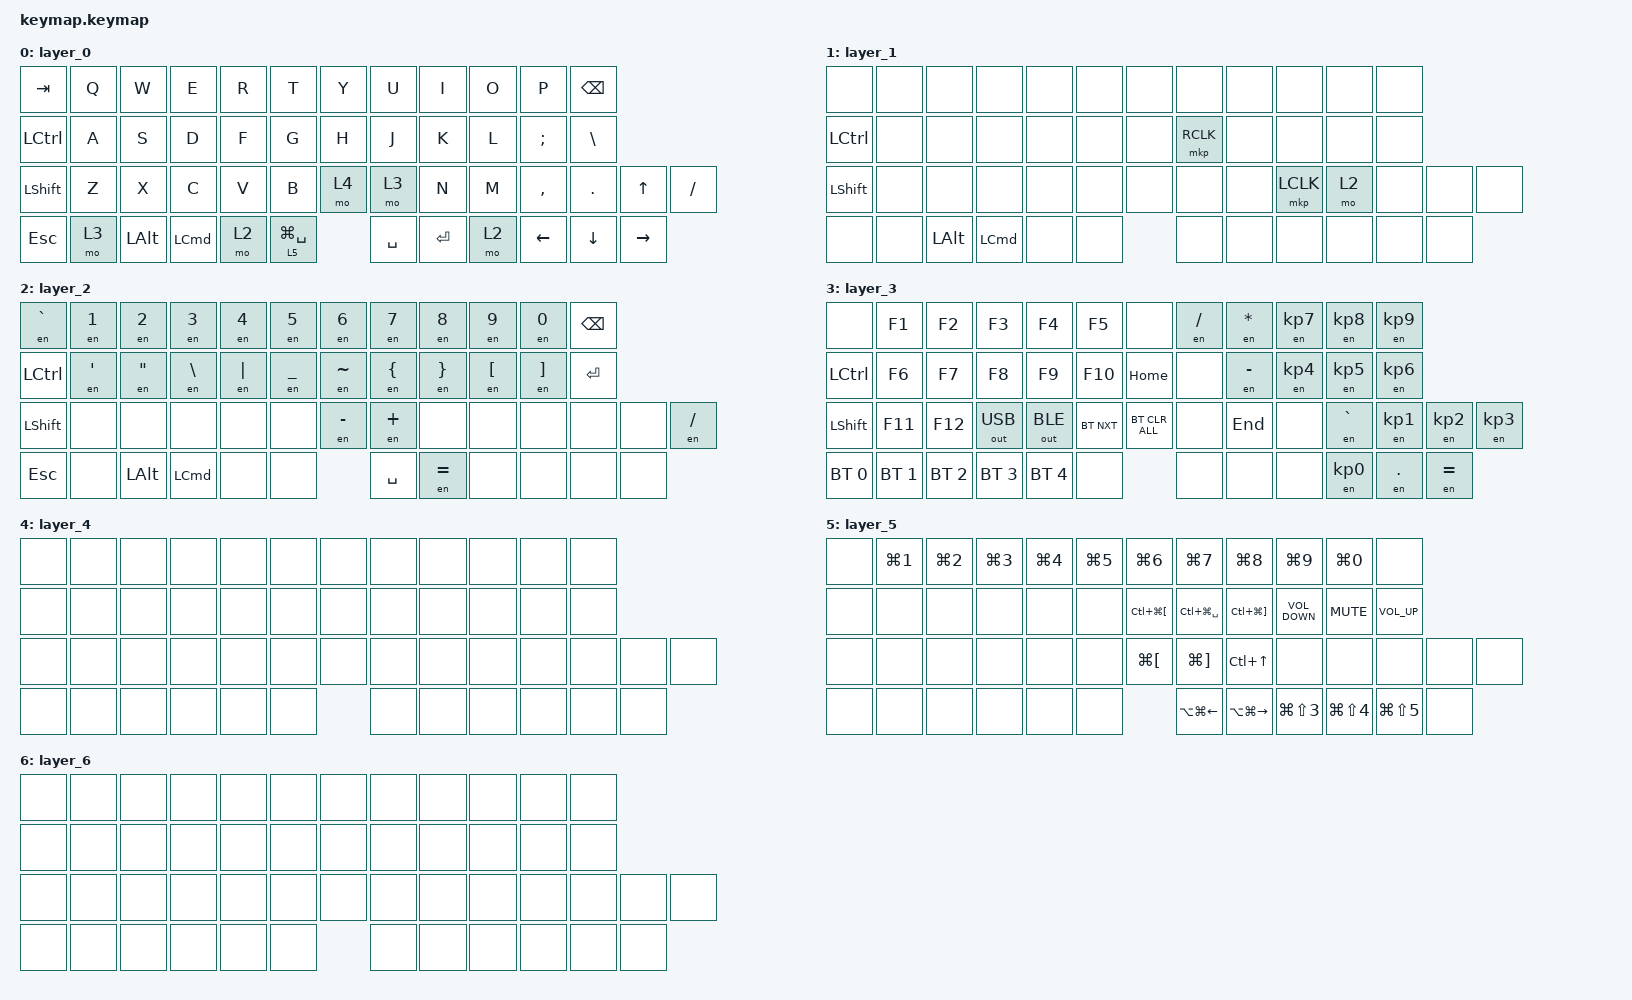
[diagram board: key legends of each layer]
#include <behaviors.dtsi>
#include <dt-bindings/zmk/bt.h>
#include <dt-bindings/zmk/keys.h>
#include <dt-bindings/zmk/outputs.h>
#include <dt-bindings/zmk/pointing.h>

/ {
    combos {
        compatible = "zmk,combos";

        rcmd {
            bindings = <&kp RIGHT_COMMAND>;
            key-positions = <34 35>;
            layers = <0>;
        };

        choon {
            bindings = <&kp MINUS>;
            key-positions = <32 33>;
            layers = <0>;
        };
    };

    macros {
        en: en_kp {
            compatible = "zmk,behavior-macro-one-param";
            #binding-cells = <1>;
            wait-ms = <30>;
            tap-ms = <30>;
            bindings =
                <&macro_tap &kp LANG2>,
                <&macro_param_1to1 &macro_press &kp MACRO_PLACEHOLDER>,
                <&macro_pause_for_release>,
                <&macro_param_1to1 &macro_release &kp MACRO_PLACEHOLDER>;
        };
    };

    keymap {
        compatible = "zmk,keymap";

        layer_0 {
            bindings = <
&kp TAB           &kp Q  &kp W     &kp E             &kp R  &kp T  &kp Y      &kp U      &kp I  &kp O           &kp P           &kp BSPC
&kp LEFT_CONTROL  &kp A  &kp S     &kp D             &kp F  &kp G  &kp H      &kp J      &kp K  &kp L           &kp SEMICOLON   &kp BACKSLASH
&kp LSHFT         &kp Z  &kp X     &kp C             &kp V  &kp B  &mo 4      &mo 3      &kp N  &kp M           &kp COMMA       &kp DOT          &kp UP_ARROW  &kp SLASH
&kp ESCAPE        &mo 3  &kp LALT  &kp LEFT_COMMAND  &mo 2  &lt 5 LG(SPACE)  &kp SPACE  &kp ENTER  &mo 2  &kp LEFT_ARROW  &kp DOWN_ARROW  &kp RIGHT_ARROW
            >;
        };

        layer_1 {
            bindings = <
&none             &none  &none     &none             &none  &none  &none  &none      &none  &none      &none  &none
&kp LEFT_CONTROL  &none  &none     &none             &none  &none  &none  &mkp RCLK  &none  &none      &none  &none
&kp LSHFT         &none  &none     &none             &none  &none  &none  &none      &none  &mkp LCLK  &mo 2  &none  &none  &none
&none             &none  &kp LALT  &kp LEFT_COMMAND  &none  &none  &none  &none      &none  &none      &none  &none
            >;
        };

        layer_2 {
            bindings = <
&en GRAVE         &en N1   &en N2    &en N3            &en N4    &en N5          &en N6     &en N7          &en N8           &en N9            &en N0             &kp BSPC
&kp LEFT_CONTROL  &en SQT  &en DQT   &en BACKSLASH     &en PIPE  &en UNDERSCORE  &en TILDE  &en LEFT_BRACE  &en RIGHT_BRACE  &en LEFT_BRACKET  &en RIGHT_BRACKET  &kp ENTER
&kp LSHFT         &none    &none     &none             &none     &none           &en MINUS  &en PLUS        &none            &none             &none              &none      &none  &en SLASH
&kp ESCAPE        &none    &kp LALT  &kp LEFT_COMMAND  &none     &none           &kp SPACE  &en EQUAL       &none            &none             &none              &none
            >;
        };

        layer_3 {
            bindings = <
&none             &kp F1        &kp F2        &kp F3        &kp F4        &kp F5      &none           &en FSLH  &en ASTRK  &en KP_NUMBER_7  &en KP_NUMBER_8  &en KP_NUMBER_9
&kp LEFT_CONTROL  &kp F6        &kp F7        &kp F8        &kp F9        &kp F10     &kp HOME        &none     &en MINUS  &en KP_NUMBER_4  &en KP_NUMBER_5  &en KP_NUMBER_6
&kp LSHFT         &kp F11       &kp F12       &out OUT_USB  &out OUT_BLE  &bt BT_NXT  &bt BT_CLR_ALL  &none     &kp END    &none            &en GRAVE        &en KP_NUMBER_1  &en KP_NUMBER_2  &en KP_NUMBER_3
&bt BT_SEL 0      &bt BT_SEL 1  &bt BT_SEL 2  &bt BT_SEL 3  &bt BT_SEL 4  &none       &none           &none     &none      &en KP_NUMBER_0  &en DOT          &en EQUAL
            >;
        };

        layer_4 {
            bindings = <
&none  &none  &none  &none  &none  &none  &none  &none  &none  &none  &none  &none
&none  &none  &none  &none  &none  &none  &none  &none  &none  &none  &none  &none
&none  &none  &none  &none  &none  &none  &none  &none  &none  &none  &none  &none  &none  &none
&none  &none  &none  &none  &none  &none  &none  &none  &none  &none  &none  &none
            >;
        };

        layer_5 {
            bindings = <
&none  &kp LG(N1)  &kp LG(N2)  &kp LG(N3)  &kp LG(N4)  &kp LG(N5)  &kp LG(N6)                &kp LG(N7)               &kp LG(N8)                 &kp LG(N9)         &kp LG(N0)      &none
&none  &none       &none       &none       &none       &none       &kp LC(LG(LEFT_BRACKET))  &kp LC(LG(SPACE))        &kp LC(LG(RIGHT_BRACKET))  &kp C_VOLUME_DOWN  &kp C_MUTE      &kp C_VOLUME_UP
&none  &none       &none       &none       &none       &none       &kp LG(LEFT_BRACKET)      &kp LG(RIGHT_BRACKET)    &kp LC(UP_ARROW)           &none              &none           &none            &none  &none
&none  &none       &none       &none       &none       &none       &kp LA(LG(LEFT_ARROW))    &kp LA(LG(RIGHT_ARROW))  &kp LG(LS(N3))             &kp LG(LS(N4))     &kp LG(LS(N5))  &none
            >;
        };

        layer_6 {
            bindings = <
&none  &none  &none  &none  &none  &none  &none  &none  &none  &none  &none  &none
&none  &none  &none  &none  &none  &none  &none  &none  &none  &none  &none  &none
&none  &none  &none  &none  &none  &none  &none  &none  &none  &none  &none  &none  &none  &none
&none  &none  &none  &none  &none  &none  &none  &none  &none  &none  &none  &none
            >;
        };
    };
};

&zip_temp_layer {
    require-prior-idle-ms = <300>;
    excluded-positions = <12 19 24 33 34 40 41>;
};
